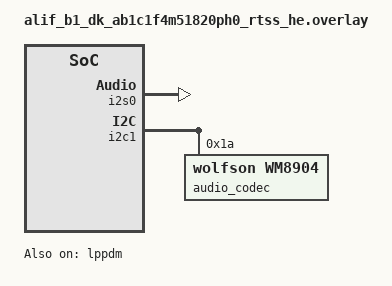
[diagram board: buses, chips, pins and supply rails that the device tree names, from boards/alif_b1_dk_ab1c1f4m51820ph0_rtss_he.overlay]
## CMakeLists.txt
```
# SPDX-License-Identifier: Apache-2.0

cmake_minimum_required(VERSION 3.20.0)

find_package(Zephyr REQUIRED HINTS $ENV{ZEPHYR_BASE})
project(pdm_i2s_loopback)

target_sources(app PRIVATE src/main.c)
```

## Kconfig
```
# Copyright (C) 2024 Alif Semiconductor
# SPDX-License-Identifier: Apache-2.0

source "Kconfig.zephyr"

config SAMPLE_FREQ
	int "Sample rate"
	default 48000
	help
	  Sample frequency of the audio system in Hz.

config AUDIO_BLOCK_MS
	int "Audio block duration in milliseconds"
	default 100
	help
	  Duration of each audio block in milliseconds.
	  Lower values reduce latency but increase CPU overhead.
	  Typical values: 50ms (low latency) or 100ms (balanced).

config AUDIO_NUM_BLOCKS
	int "Number of audio blocks"
	default 4
	help
	  Number of audio blocks in the memory slab.
	  More blocks provide better buffering but use more memory.
	  Minimum recommended: 2 blocks.

config DEBUG_MODE
	bool "Enable debug mode (capture then playback)"
	default n
	help
	  If enabled, captures 60KB of audio then plays it once (for debugging).
	  If disabled, runs continuous real-time audio loopback.
	  Debug mode is useful for extracting and analyzing captured audio data.
```

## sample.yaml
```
sample:
  name: PDM to I2S Audio Loopback
  description: Real-time audio loopback from PDM to I2S codec
tests:
  sample.drivers.pdm_i2s:
    tags: audio i2s dmic
    filter: dt_nodelabel_enabled("lppdm") and dt_nodelabel_enabled("i2s0")
    harness: console
    harness_config:
      type: multi_line
      ordered: true
      regex:
        - "PDM to I2S Audio Loopback"
        - "Audio loopback started"
```

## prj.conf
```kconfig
CONFIG_AUDIO=y
CONFIG_AUDIO_DMIC=y
CONFIG_I2S=y
CONFIG_I2C=y
CONFIG_LOG=y
CONFIG_PRINTK=y
CONFIG_DEBUG_MODE=n
CONFIG_SAMPLE_FREQ=16000
```

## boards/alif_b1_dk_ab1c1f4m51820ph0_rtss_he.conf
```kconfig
# Copyright (C) 2024 Alif Semiconductor
# SPDX-License-Identifier: Apache-2.0

CONFIG_I2C=y
CONFIG_HEAP_MEM_POOL_SIZE=81920
CONFIG_AUDIO=y
CONFIG_AUDIO_CODEC=y
CONFIG_AUDIO_CODEC_WM8904=y
CONFIG_SAMPLE_FREQ=48000
```

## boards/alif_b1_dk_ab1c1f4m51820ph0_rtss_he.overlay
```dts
/*
 * Copyright (C) 2024 Alif Semiconductor
 * SPDX-License-Identifier: Apache-2.0
 */

/ {
	aliases {
		pdm-audio = &lppdm;
		i2s-codec-tx = &i2s0;
	};
};

&lppdm {
	status = "okay";
};

&i2s0 {
	status = "okay";
};

&pinctrl {
	pinctrl_i2s0: pinctrl_i2s0 {
		group0 {
			pinmux = <PIN_P2_4__I2S0_SDI_B>,
				 <PIN_P2_5__I2S0_SDO_B>,
				 <PIN_P1_6__I2S0_SCLK_A>,
				 <PIN_P1_7__I2S0_WS_A>;
		};
	};
};

&i2c1 {
	status = "okay";

	audio_codec: wm8904@1a {
		compatible = "wolfson,wm8904";
		reg = <0x1a 0 0>;
		clock-source = "MCLK";
	};
};
```

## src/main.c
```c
/*
 * Copyright (C) 2024 Alif Semiconductor
 * SPDX-License-Identifier: Apache-2.0
 */

#include <zephyr/kernel.h>
#include <zephyr/device.h>
#include <zephyr/audio/dmic.h>
#include <zephyr/drivers/i2s.h>
#include <zephyr/drivers/i2c.h>
#include <zephyr/audio/codec.h>
#include <zephyr/drivers/pdm/pdm_alif.h>
#include <string.h>
#include <zephyr/logging/log.h>

LOG_MODULE_REGISTER(pdm_i2s, LOG_LEVEL_INF);

/* Device tree aliases */
#define PDM_NODE	DT_ALIAS(pdm_audio)
#define I2S_NODE	DT_ALIAS(i2s_codec_tx)

/* Audio configuration */
#define SAMPLE_FREQUENCY	CONFIG_SAMPLE_FREQ
#define SAMPLE_BIT_WIDTH	16
#define PDM_CHANNELS		1	/* Mono capture */
#define I2S_CHANNELS		2	/* Stereo playback */

/* Buffer configuration - 100ms latency */
#define SAMPLES_PER_BLOCK	((SAMPLE_FREQUENCY / 10) * PDM_CHANNELS)
#define BLOCK_SIZE		(SAMPLES_PER_BLOCK * sizeof(int16_t))
#define NUM_BLOCKS		16  /* Increased for real-time continuous operation */
#define TIMEOUT_MS		5000

/* PDM Channel 4 configuration */
#define CHANNEL_4		4
#define CH4_PHASE		0x0000001F
#define CH4_GAIN		0x0000000D
#define CH4_PEAK_DETECT_TH	0x00060002
#define CH4_PEAK_DETECT_ITV	0x0004002D

/* Channel 4 FIR coefficients */
static uint32_t ch4_fir[18] = {
	0x00000001, 0x00000003, 0x00000003, 0x000007F4,
	0x00000004, 0x000007ED, 0x000007F5, 0x000007F4,
	0x000007D3, 0x000007FE, 0x000007BC, 0x000007E5,
	0x000007D9, 0x00000793, 0x00000029, 0x0000072C,
	0x00000072, 0x000002FD
};

/* Memory slab for PDM audio buffers */
K_MEM_SLAB_DEFINE(audio_mem_slab, BLOCK_SIZE, NUM_BLOCKS, 4);

/* Memory slab for I2S buffers (stereo, so double size) */
K_MEM_SLAB_DEFINE(i2s_mem_slab, BLOCK_SIZE * 2, NUM_BLOCKS, 4);

/* I2S stereo buffer (double size for stereo) */
static int16_t i2s_buffer[SAMPLES_PER_BLOCK * 2];

/**
 * Configure PDM channel 4
 */
static void pdm_ch_config(const struct device *pdm_dev)
{
	struct pdm_ch_config pdm_coef_reg;

	pdm_set_ch_phase(pdm_dev, CHANNEL_4, CH4_PHASE);
	pdm_set_ch_gain(pdm_dev, CHANNEL_4, CH4_GAIN);
	pdm_set_peak_detect_th(pdm_dev, CHANNEL_4, CH4_PEAK_DETECT_TH);
	pdm_set_peak_detect_itv(pdm_dev, CHANNEL_4, CH4_PEAK_DETECT_ITV);

	pdm_coef_reg.ch_num = 4;
	memcpy(pdm_coef_reg.ch_fir_coef, ch4_fir, sizeof(pdm_coef_reg.ch_fir_coef));
	pdm_coef_reg.ch_iir_coef = 0x00000004;

	pdm_channel_config(pdm_dev, &pdm_coef_reg);
	
	/* Use high quality mode for 16kHz (1.024MHz clock) */
	pdm_mode(pdm_dev, PDM_MODE_HIGH_QUALITY_1024_CLK_FRQ);
}

/**
 * Convert mono PCM to stereo by duplicating samples
 */
static void mono_to_stereo(const int16_t *mono, int16_t *stereo, size_t samples)
{
	for (size_t i = 0; i < samples; i++) {
		stereo[2 * i] = mono[i];	/* Left channel */
		stereo[2 * i + 1] = mono[i];	/* Right channel */
	}
}

int main(void)
{
	const struct device *pdm_dev = DEVICE_DT_GET(PDM_NODE);
	const struct device *i2s_dev = DEVICE_DT_GET(I2S_NODE);
	const struct device *codec_dev = DEVICE_DT_GET(DT_NODELABEL(audio_codec));
	
	struct pcm_stream_cfg pdm_stream;
	struct dmic_cfg pdm_cfg;
	struct i2s_config i2s_cfg;
	struct audio_codec_cfg codec_cfg;
	
	void *pdm_buffer;
	uint32_t pdm_size;
	int ret;

	printk("PDM to I2S Audio Loopback Sample\n");

	/* Check PDM device */
	if (!device_is_ready(pdm_dev)) {
		LOG_ERR("PDM device not ready");
		return -ENODEV;
	}
	LOG_INF("PDM device ready");

	/* Check I2S device */
	if (!device_is_ready(i2s_dev)) {
		LOG_ERR("I2S device not ready");
		return -ENODEV;
	}
	LOG_INF("I2S device ready");

	/* Check codec device */
	if (!device_is_ready(codec_dev)) {
		LOG_ERR("Codec device not ready");
		return -ENODEV;
	}
	LOG_INF("Codec device ready");

	/* Configure PDM */
	LOG_INF("Initializing PDM...");
	pdm_stream.pcm_width = SAMPLE_BIT_WIDTH;
	pdm_stream.mem_slab = &audio_mem_slab;

	pdm_cfg.io.min_pdm_clk_freq = 1000000;
	pdm_cfg.io.max_pdm_clk_freq = 3500000;
	pdm_cfg.io.min_pdm_clk_dc = 40;
	pdm_cfg.io.max_pdm_clk_dc = 60;
	pdm_cfg.streams = &pdm_stream;
	pdm_cfg.streams[0].mem_slab = &audio_mem_slab;
	pdm_cfg.streams[0].block_size = BLOCK_SIZE;
	pdm_cfg.streams[0].pcm_rate = SAMPLE_FREQUENCY;  /* Set 48kHz output rate */
	pdm_cfg.channel.req_num_streams = 1;
	pdm_cfg.channel.req_num_chan = PDM_CHANNELS;
	pdm_cfg.channel.req_chan_map_lo = PDM_MASK_CHANNEL_4;

	ret = dmic_configure(pdm_dev, &pdm_cfg);
	if (ret < 0) {
		LOG_ERR("Failed to configure PDM: %d", ret);
		return ret;
	}

	/* Apply PDM channel configuration */
	pdm_ch_config(pdm_dev);

	/* Configure Audio Codec - use same slab as I2S */
	LOG_INF("Initializing Codec...");
	codec_cfg.dai_type = AUDIO_DAI_TYPE_I2S;
	codec_cfg.dai_cfg.i2s.word_size = 24;  /* Codec uses 24-bit internally */
	codec_cfg.dai_cfg.i2s.channels = I2S_CHANNELS;
	codec_cfg.dai_cfg.i2s.format = I2S_FMT_DATA_FORMAT_I2S;
	codec_cfg.dai_cfg.i2s.options = I2S_OPT_FRAME_CLK_MASTER;
	codec_cfg.dai_cfg.i2s.frame_clk_freq = SAMPLE_FREQUENCY;
	codec_cfg.dai_cfg.i2s.mem_slab = &i2s_mem_slab;
	codec_cfg.dai_cfg.i2s.block_size = BLOCK_SIZE * 2; /* Stereo */

	ret = audio_codec_configure(codec_dev, &codec_cfg);
	if (ret < 0) {
		LOG_ERR("Failed to configure codec: %d", ret);
		return ret;
	}

	/* Let codec stabilize - increased to 1 second like working sample */
	k_msleep(1000);

	/* Configure I2S */
	LOG_INF("Initializing I2S...");
	i2s_cfg.word_size = SAMPLE_BIT_WIDTH;
	i2s_cfg.channels = I2S_CHANNELS;
	i2s_cfg.format = I2S_FMT_DATA_FORMAT_I2S;
	i2s_cfg.options = I2S_OPT_FRAME_CLK_MASTER | I2S_OPT_BIT_CLK_MASTER;
	i2s_cfg.frame_clk_freq = SAMPLE_FREQUENCY;
	i2s_cfg.mem_slab = &i2s_mem_slab;
	i2s_cfg.block_size = BLOCK_SIZE * 2; /* Stereo */
	i2s_cfg.timeout = TIMEOUT_MS;

	ret = i2s_configure(i2s_dev, I2S_DIR_TX, &i2s_cfg);
	if (ret < 0) {
		LOG_ERR("Failed to configure I2S: %d", ret);
		return ret;
	}

	/* Start PDM capture */
	ret = dmic_trigger(pdm_dev, DMIC_TRIGGER_START);
	if (ret < 0) {
		LOG_ERR("Failed to start PDM: %d", ret);
		return ret;
	}

	printk("Audio loopback started\n");

#ifdef CONFIG_DEBUG_MODE
	/* ... (Debug mode omitted) ... */
#else
	/* ===== REAL-TIME MODE: Continuous loopback ===== */
	printk("REAL-TIME MODE: Speak into the microphone!\n");

	bool i2s_started = false;
	int block_count = 0;
	void *i2s_tx_buffer;
	
	while (1) {
		/* Read audio from PDM */
		ret = dmic_read(pdm_dev, 0, &pdm_buffer, &pdm_size, TIMEOUT_MS);
		if (ret < 0) {
			LOG_ERR("PDM read failed: %d", ret);
			/* If PDM fails, try to restart it? */
			dmic_trigger(pdm_dev, DMIC_TRIGGER_STOP);
			dmic_trigger(pdm_dev, DMIC_TRIGGER_START);
			continue;
		}

		block_count++;
		if (block_count % 100 == 0) {
			LOG_INF("Still running... processed %d blocks", block_count);
		}

		/* Allocate I2S buffer from slab */
		ret = k_mem_slab_alloc(&i2s_mem_slab, &i2s_tx_buffer, K_NO_WAIT);
		if (ret < 0) {
			/* If I2S slab is full, it means I2S is stalled or slow */
			LOG_WRN("I2S slab full! Dropping frame.");
			k_mem_slab_free(&audio_mem_slab, pdm_buffer);
			continue;
		}

		/* Convert mono to stereo directly into I2S buffer */
		mono_to_stereo((int16_t *)pdm_buffer, (int16_t *)i2s_tx_buffer, 
			       pdm_size / sizeof(int16_t));

		/* Free PDM buffer immediately */
		k_mem_slab_free(&audio_mem_slab, pdm_buffer);

		/* Write to I2S */
		ret = i2s_write(i2s_dev, i2s_tx_buffer, pdm_size * 2);
		if (ret < 0) {
			LOG_ERR("I2S write failed: %d", ret);
			k_mem_slab_free(&i2s_mem_slab, i2s_tx_buffer);
			
			/* Try to recover I2S */
			i2s_trigger(i2s_dev, I2S_DIR_TX, I2S_TRIGGER_DROP);
			i2s_started = false;
			continue;
		}

		if (!i2s_started) {
			ret = i2s_trigger(i2s_dev, I2S_DIR_TX, I2S_TRIGGER_START);
			if (ret < 0) {
				LOG_ERR("Failed to start I2S: %d", ret);
			} else {
				i2s_started = true;
				LOG_INF("I2S playback started - continuous mode");
			}
		}
	}
#endif

	return 0;
}
```
